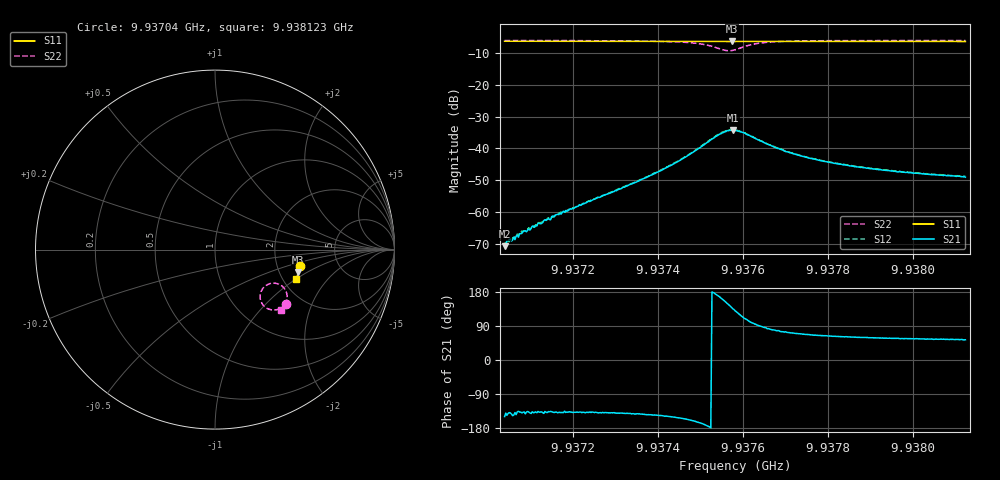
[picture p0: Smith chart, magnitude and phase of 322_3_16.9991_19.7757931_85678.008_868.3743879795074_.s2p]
#  HZ  S  RI  R  50.00
! Rohde & Schwarz Vector Network Analyzer
! Rohde-Schwarz,ZNB20-2Port,1311601062101988,3.16
! Created: UTC 3/20/2024, 11:06:28 PM
! freq[Hz]  re:S11  im:S11  re:S21  im:S21  re:S12  im:S12  re:S22  im:S22
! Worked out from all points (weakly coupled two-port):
!   401 points, 9.93704 GHz to 9.938123 GHz, reference 50 ohm
!   highest |S21| = -34.21 dB at 9.937576 GHz (marker M1); lowest = -70.7 dB at 9.93704 GHz (marker M2)
!   lowest |S11| = -6.4 dB at 9.937573 GHz (marker M3), VSWR 2.85, Z = 127 - j41.2 ohm
!   |S11| at or under -10 dB: nowhere
!   |S22| runs from -9.3 to -6.0 dB; largest |S21 - S12| = 0.00093
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9.9370395e9  0.4762 -0.0905  -0.000251 -0.000149  -0.000257 -0.000211  0.3967 -0.3019
9.9370477e9  0.4758 -0.0912  -0.000274 -0.000222  -0.000285 -0.000227  0.396 -0.3024
9.9370612e9  0.4756 -0.092  -0.00033 -0.000232  -0.00031 -0.000253  0.395 -0.3036
9.9370748e9  0.4754 -0.0932  -0.000337 -0.000312  -0.000355 -0.000293  0.3941 -0.3044
9.9371371e9  0.4741 -0.0972  -0.000554 -0.000502  -0.000568 -0.000475  0.3893 -0.3092
9.9371425e9  0.4741 -0.0975  -0.000569 -0.000549  -0.000609 -0.000539  0.3892 -0.3097
9.9372211e9  0.4727 -0.1028  -0.000991 -0.000865  -0.000994 -0.00088  0.3817 -0.3157
9.9373078e9  0.471 -0.1088  -0.00175 -0.00145  -0.00182 -0.00147  0.3708 -0.3237
9.9374026e9  0.4687 -0.1153  -0.00364 -0.00241  -0.00373 -0.00235  0.35 -0.3335
9.9374568e9  0.4675 -0.1188  -0.00613 -0.00298  -0.00629 -0.00292  0.3266 -0.337
9.937511e9  0.4656 -0.1226  -0.0116 -0.00183  -0.0119 -0.00164  0.2818 -0.322
9.937549e9  0.4639 -0.1244  -0.0163 0.00496  -0.0168 0.00557  0.2515 -0.261
9.9375734e9  0.4635 -0.125  -0.0145 0.0127  -0.0143 0.0133  0.2791 -0.2035
9.9375761e9  0.4637 -0.125  -0.0138 0.0137  -0.0136 0.0141  0.2851 -0.1992
9.9375815e9  0.4637 -0.1251  -0.0123 0.0146  -0.0121 0.0152  0.2984 -0.1921
9.9376005e9  0.4639 -0.1261  -0.00682 0.0164  -0.00645 0.0167  0.3442 -0.1889
9.9376384e9  0.4639 -0.1287  -7.88e-05 0.0135  0.000321 0.0135  0.3916 -0.2248
9.9377034e9  0.4628 -0.1334  0.00261 0.0085  0.00276 0.00855  0.4013 -0.2704
9.9377631e9  0.4614 -0.1376  0.00281 0.00632  0.00296 0.00633  0.3966 -0.2911
9.9378471e9  0.4595 -0.1433  0.00264 0.00474  0.00274 0.00474  0.389 -0.3073
9.9379446e9  0.457 -0.1496  0.00239 0.00377  0.00249 0.00378  0.381 -0.3191
9.9381235e9  0.4524 -0.161  0.00211 0.00284  0.0022 0.00291  0.3685 -0.3339
